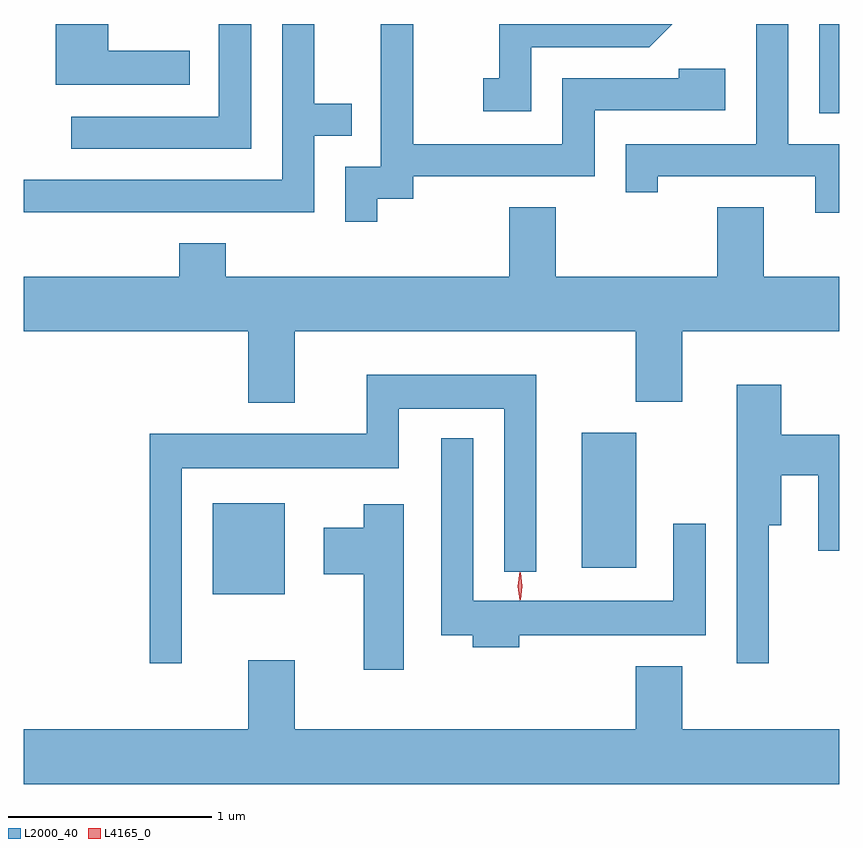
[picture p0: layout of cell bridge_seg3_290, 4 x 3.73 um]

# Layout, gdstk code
import gdstk
lib = gdstk.Library(unit=1e-6, precision=1e-09)
def R(c, l, rs):  # rectangles x0, y0, x1, y1
    for r in rs: c.add(gdstk.rectangle(r[:2], r[2:], *l))
def P(c, l, *ps):  # polygons
    for p in ps: c.add(gdstk.Polygon(p, *l))
L2000_40 = (2000, 40)
L4165_0 = (4165, 0)

bridge_seg3_290 = lib.new_cell('bridge_seg3_290')
R(bridge_seg3_290, L2000_40, [(1061.856,1118.066,1062.209,1118.514), (1063.666,1118.196,1063.934,1118.859), (1064.831,1120.426,1064.929,1120.864)])
P(bridge_seg3_290, L2000_40, [(1063.419,1120.751),(1063.997,1120.751),(1064.11,1120.864),(1063.261,1120.864),(1063.261,1120.599),(1063.183,1120.599),(1063.183,1120.436),(1063.419,1120.436)],
  [(1062.044,1120.864),(1061.886,1120.864),(1061.886,1120.409),(1061.163,1120.409),(1061.163,1120.251),(1062.044,1120.251)],
  [(1061.743,1120.734),(1061.344,1120.734),(1061.344,1120.864),(1061.086,1120.864),(1061.086,1120.566),(1061.743,1120.566)],
  [(1062.354,1120.316),(1062.538,1120.316),(1062.538,1120.474),(1062.354,1120.474),(1062.354,1120.864),(1062.196,1120.864),(1062.196,1120.099),(1060.929,1120.099),(1060.929,1119.941),(1062.354,1119.941)],
  [(1064.929,1120.274),(1064.679,1120.274),(1064.679,1120.864),(1064.521,1120.864),(1064.521,1120.274),(1063.881,1120.274),(1063.881,1120.038),(1064.039,1120.038),(1064.039,1120.116),(1064.811,1120.116),(1064.811,1119.938),(1064.929,1119.938)],
  [(1062.664,1120.006),(1062.839,1120.006),(1062.839,1120.116),(1063.729,1120.116),(1063.729,1120.441),(1064.369,1120.441),(1064.369,1120.644),(1064.141,1120.644),(1064.141,1120.599),(1063.571,1120.599),(1063.571,1120.274),(1062.839,1120.274),(1062.839,1120.864),(1062.681,1120.864),(1062.681,1120.164),(1062.506,1120.164),(1062.506,1119.893),(1062.664,1119.893)],
  [(1062.259,1119.356),(1063.931,1119.356),(1063.931,1119.011),(1064.159,1119.011),(1064.159,1119.356),(1064.929,1119.356),(1064.929,1119.624),(1064.559,1119.624),(1064.559,1119.964),(1064.331,1119.964),(1064.331,1119.624),(1063.539,1119.624),(1063.539,1119.964),(1063.311,1119.964),(1063.311,1119.624),(1061.919,1119.624),(1061.919,1119.789),(1061.691,1119.789),(1061.691,1119.624),(1060.929,1119.624),(1060.929,1119.356),(1062.031,1119.356),(1062.031,1119.006),(1062.259,1119.006)],
  [(1061.704,1118.686),(1062.769,1118.686),(1062.769,1118.976),(1063.286,1118.976),(1063.286,1118.178),(1063.444,1118.178),(1063.444,1119.144),(1062.611,1119.144),(1062.611,1118.854),(1061.546,1118.854),(1061.546,1117.728),(1061.704,1117.728)],
  [(1064.584,1118.406),(1064.644,1118.406),(1064.644,1118.651),(1064.826,1118.651),(1064.826,1118.281),(1064.929,1118.281),(1064.929,1118.849),(1064.644,1118.849),(1064.644,1119.094),(1064.426,1119.094),(1064.426,1117.728),(1064.584,1117.728)],
  [(1063.359,1117.866),(1064.274,1117.866),(1064.274,1118.413),(1064.116,1118.413),(1064.116,1118.034),(1063.134,1118.034),(1063.134,1118.833),(1062.976,1118.833),(1062.976,1117.866),(1063.131,1117.866),(1063.131,1117.806),(1063.359,1117.806)],
  [(1062.794,1118.509),(1062.596,1118.509),(1062.596,1118.394),(1062.401,1118.394),(1062.401,1118.166),(1062.596,1118.166),(1062.596,1117.696),(1062.794,1117.696)],
  [(1064.929,1117.404),(1064.159,1117.404),(1064.159,1117.714),(1063.931,1117.714),(1063.931,1117.404),(1062.259,1117.404),(1062.259,1117.744),(1062.031,1117.744),(1062.031,1117.404),(1060.929,1117.404),(1060.929,1117.136),(1064.929,1117.136)])
P(bridge_seg3_290, L4165_0, [(1063.363,1118.037),(1063.362,1118.038),(1063.353,1118.107),(1063.362,1118.176),(1063.363,1118.176),(1063.363,1118.176),(1063.373,1118.107),(1063.363,1118.038)],
  [(1063.365,1118.039),(1063.365,1118.04),(1063.355,1118.106),(1063.365,1118.172),(1063.365,1118.173),(1063.366,1118.172),(1063.375,1118.106),(1063.366,1118.04)])

lib.write_gds('bridge_seg3_290.gds')
